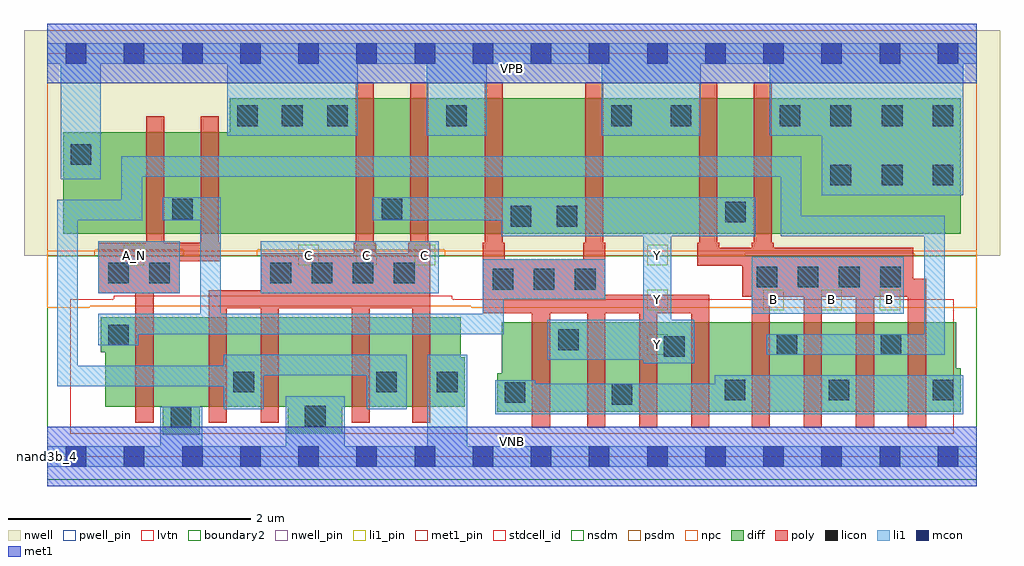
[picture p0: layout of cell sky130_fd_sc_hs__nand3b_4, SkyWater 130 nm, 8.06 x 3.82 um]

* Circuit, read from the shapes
.subckt sky130_fd_sc_hs__nand3b_4 A_N B C VGND VNB VPB VPWR Y
XM1 VGND A_N n1 VNB sky130_fd_pr__nfet_01v8_lvt w=0.74 l=0.15
XM2 n2 C VGND VNB sky130_fd_pr__nfet_01v8_lvt w=0.74 l=0.15 m=4
XM3 Y n1 n3 VNB sky130_fd_pr__nfet_01v8_lvt w=0.74 l=0.15 m=4
XM4 n2 B n3 VNB sky130_fd_pr__nfet_01v8_lvt w=0.74 l=0.15 m=4
XM5 n1 A_N VPWR VPB sky130_fd_pr__pfet_01v8 w=0.84 l=0.15 m=2
XM6 Y C VPWR VPB sky130_fd_pr__pfet_01v8 w=1.12 l=0.15 m=2
XM7 Y n1 VPWR VPB sky130_fd_pr__pfet_01v8 w=1.12 l=0.15 m=2
XM8 Y B VPWR VPB sky130_fd_pr__pfet_01v8 w=1.12 l=0.15 m=2
.ends

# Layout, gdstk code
import gdstk
lib = gdstk.Library(unit=1e-6, precision=1e-09)
def R(c, l, rs):  # rectangles x0, y0, x1, y1
    for r in rs: c.add(gdstk.rectangle(r[:2], r[2:], *l))
def A(c, l, x, y, w, h, nx, ny, dx, dy):  # array of equal rectangles
    R(c, l, [(x+i*dx, y+j*dy, x+i*dx+w, y+j*dy+h) for i in range(nx) for j in range(ny)])
def P(c, l, *ps):  # polygons
    for p in ps: c.add(gdstk.Polygon(p, *l))
nwell_pin = (64, 16)
nwell = (64, 20)
diff = (65, 20)
poly = (66, 20)
licon = (66, 44)
li1_pin = (67, 16)
li1 = (67, 20)
mcon = (67, 44)
met1_pin = (68, 16)
met1 = (68, 20)
stdcell_id = (81, 4)
nsdm = (93, 44)
psdm = (94, 20)
npc = (95, 20)
pwell_pin = (122, 16)
lvtn = (125, 44)
boundary2 = (236, 0)

sky130_fd_sc_hs__nand3b_ = lib.new_cell('sky130_fd_sc_hs__nand3b_4')
R(sky130_fd_sc_hs__nand3b_, nwell_pin, [(0,3.085,7.68,3.33)])
R(sky130_fd_sc_hs__nand3b_, nwell, [(-0.19,1.66,7.87,3.52)])
P(sky130_fd_sc_hs__nand3b_, diff, [(3.45,0.82),(3.415,0.82),(3.415,1.15),(0.445,1.15),(0.445,0.86),(0.48,0.86),(0.48,0.41),(0.955,0.41),(0.955,0.18),(1.26,0.18),(1.26,0.41),(1.99,0.41),(1.99,0.19),(2.44,0.19),(2.44,0.41),(3.45,0.41)],
  [(7.545,2.96),(1.51,2.96),(1.51,2.68),(0.135,2.68),(0.135,1.84),(7.545,1.84)],
  [(7.545,0.73),(7.51,0.73),(7.51,1.11),(3.755,1.11),(3.755,0.69),(3.72,0.69),(3.72,0.37),(7.545,0.37)])
P(sky130_fd_sc_hs__nand3b_, poly, [(7.26,1.47),(7.155,1.47),(7.155,1.725),(6,1.725),(6,1.765),(5.985,1.765),(5.985,3.09),(5.835,3.09),(5.835,1.765),(5.82,1.765),(5.82,1.725),(5.55,1.725),(5.55,1.765),(5.535,1.765),(5.535,3.09),(5.385,3.09),(5.385,1.765),(5.37,1.765),(5.37,1.575),(5.74,1.575),(5.74,1.32),(5.82,1.32),(5.82,0.24),(5.97,0.24),(5.97,1.32),(6.25,1.32),(6.25,0.24),(6.4,0.24),(6.4,1.32),(6.68,1.32),(6.68,0.24),(6.83,0.24),(6.83,1.32),(7.11,1.32),(7.11,0.24),(7.26,0.24)],
  [(5.47,1.335),(4.61,1.335),(4.61,1.765),(4.595,1.765),(4.595,3.09),(4.445,3.09),(4.445,1.765),(4.43,1.765),(4.43,1.63),(3.78,1.63),(3.78,1.765),(3.765,1.765),(3.765,3.09),(3.615,3.09),(3.615,1.765),(3.6,1.765),(3.6,1.185),(4.005,1.185),(4.005,0.24),(4.155,0.24),(4.155,1.185),(4.46,1.185),(4.46,0.24),(4.61,0.24),(4.61,1.185),(4.89,1.185),(4.89,0.24),(5.04,0.24),(5.04,1.185),(5.32,1.185),(5.32,0.24),(5.47,0.24)],
  [(3.165,1.765),(3.15,1.765),(3.15,3.09),(3,3.09),(3,1.765),(2.985,1.765),(2.985,1.68),(2.715,1.68),(2.715,1.765),(2.7,1.765),(2.7,3.09),(2.55,3.09),(2.55,1.765),(2.535,1.765),(2.535,1.68),(1.765,1.68),(1.765,1.375),(1.335,1.375),(1.335,0.28),(1.485,0.28),(1.485,1.225),(1.765,1.225),(1.765,0.28),(1.915,0.28),(1.915,1.225),(2.515,1.225),(2.515,0.28),(2.665,0.28),(2.665,1.225),(3.015,1.225),(3.015,0.28),(3.165,0.28)],
  [(1.435,1.765),(1.42,1.765),(1.42,2.81),(1.27,2.81),(1.27,1.765),(0.97,1.765),(0.97,2.81),(0.82,2.81),(0.82,1.765),(0.425,1.765),(0.425,1.35),(0.73,1.35),(0.73,0.28),(0.88,0.28),(0.88,1.35),(1.095,1.35),(1.095,1.615),(1.435,1.615)])
A(sky130_fd_sc_hs__nand3b_, licon, 5.595, 0.465, 0.17, 0.17, 3, 1, 0.86, 0)
A(sky130_fd_sc_hs__nand3b_, licon, 3.68, 1.38, 0.17, 0.17, 3, 1, 0.34, 0)
A(sky130_fd_sc_hs__nand3b_, licon, 5.86, 1.4, 0.17, 0.17, 4, 1, 0.34, 0)
A(sky130_fd_sc_hs__nand3b_, licon, 1.845, 1.43, 0.17, 0.17, 4, 1, 0.34, 0)
R(sky130_fd_sc_hs__nand3b_, licon, [(1.02,0.24,1.19,0.41), (2.13,0.25,2.3,0.42), (4.665,0.43,4.835,0.6), (3.78,0.445,3.95,0.615), (1.54,0.53,1.71,0.7), (2.72,0.53,2.89,0.7), (3.22,0.53,3.39,0.7), (5.095,0.825,5.265,0.995), (6.025,0.84,6.195,1.01), (6.885,0.84,7.055,1.01), (4.22,0.88,4.39,1.05), (0.505,0.92,0.675,1.09), (0.505,1.43,0.675,1.6), (0.845,1.43,1.015,1.6), (3.83,1.9,4,2.07), (4.21,1.9,4.38,2.07), (5.6,1.935,5.77,2.105), (1.035,1.96,1.205,2.13), (2.765,1.96,2.935,2.13), (6.47,2.24,6.64,2.41), (6.895,2.24,7.065,2.41), (7.315,2.24,7.485,2.41), (0.195,2.41,0.365,2.58), (1.57,2.73,1.74,2.9), (1.94,2.73,2.11,2.9), (2.315,2.73,2.485,2.9), (3.295,2.73,3.465,2.9), (4.66,2.73,4.83,2.9), (5.15,2.73,5.32,2.9), (6.05,2.73,6.22,2.9), (6.47,2.73,6.64,2.9), (6.895,2.73,7.065,2.9), (7.315,2.73,7.485,2.9)])
A(sky130_fd_sc_hs__nand3b_, li1_pin, 4.955, 0.84, 0.17, 0.17, 1, 3, 0, 0.37)
A(sky130_fd_sc_hs__nand3b_, li1_pin, 5.915, 1.21, 0.17, 0.17, 3, 1, 0.48, 0)
A(sky130_fd_sc_hs__nand3b_, li1_pin, 2.075, 1.58, 0.17, 0.17, 3, 1, 0.48, 0)
R(sky130_fd_sc_hs__nand3b_, li1_pin, [(0.635,1.58,0.805,1.75)])
R(sky130_fd_sc_hs__nand3b_, li1, [(5.82,1.18,7.075,1.65), (0.425,1.35,1.095,1.78), (1.765,1.35,3.235,1.78)])
P(sky130_fd_sc_hs__nand3b_, li1, [(7.68,3.415),(0,3.415),(0,3.245),(0.115,3.245),(0.115,2.29),(0.445,2.29),(0.445,3.245),(1.49,3.245),(1.49,2.65),(2.565,2.65),(2.565,3.245),(3.135,3.245),(3.135,2.65),(3.63,2.65),(3.63,3.245),(4.58,3.245),(4.58,2.65),(5.4,2.65),(5.4,3.245),(5.97,3.245),(5.97,2.65),(6.4,2.65),(6.4,2.16),(7.565,2.16),(7.565,3.245),(7.68,3.245)],
  [(0.935,0.085),(0.935,0.41),(1.28,0.41),(1.28,0.085),(1.97,0.085),(1.97,0.5),(2.46,0.5),(2.46,0.085),(3.14,0.085),(3.14,0.84),(3.47,0.84),(3.47,0.085),(7.68,0.085),(7.68,-0.085),(0,-0.085),(0,0.085)],
  [(1.265,1.18),(1.265,1.95),(0.955,1.95),(0.955,2.14),(1.435,2.14),(1.435,1.18),(3.6,1.18),(3.6,1.63),(4.61,1.63),(4.61,1.3),(3.77,1.3),(3.77,1.01),(0.755,1.01),(0.755,0.92),(0.425,0.92),(0.425,1.18)],
  [(7.415,1.99),(6.23,1.99),(6.23,2.48),(0.615,2.48),(0.615,2.12),(0.085,2.12),(0.085,0.58),(1.46,0.58),(1.46,0.39),(1.79,0.39),(1.79,0.67),(2.64,0.67),(2.64,0.39),(2.97,0.39),(2.97,0.84),(1.46,0.84),(1.46,0.75),(0.255,0.75),(0.255,1.95),(0.785,1.95),(0.785,2.31),(6.06,2.31),(6.06,1.82),(7.245,1.82),(7.245,1.01),(5.945,1.01),(5.945,0.84),(7.415,0.84)],
  [(3.75,1.82),(3.75,1.95),(2.685,1.95),(2.685,2.14),(5.85,2.14),(5.85,1.82),(5.155,1.82),(5.155,1.13),(5.345,1.13),(5.345,0.77),(4.925,0.77),(4.925,0.8),(4.13,0.8),(4.13,1.13),(4.925,1.13),(4.925,1.82)],
  [(5.515,0.6),(5.515,0.67),(7.565,0.67),(7.565,0.35),(3.7,0.35),(3.7,0.63),(4.03,0.63),(4.03,0.6)])
A(sky130_fd_sc_hs__nand3b_, mcon, 0.155, -0.085, 0.17, 0.17, 16, 2, 0.48, 3.33)
R(sky130_fd_sc_hs__nand3b_, met1_pin, [(0,0,7.68,0.245), (0,3.085,7.68,3.33)])
R(sky130_fd_sc_hs__nand3b_, met1, [(0,-0.245,7.68,0.245), (0,3.085,7.68,3.575)])
R(sky130_fd_sc_hs__nand3b_, stdcell_id, [(0,0,7.68,3.33)])
R(sky130_fd_sc_hs__nand3b_, nsdm, [(0,-0.19,7.68,1.66)])
P(sky130_fd_sc_hs__nand3b_, psdm, [(7.68,3.52),(0,3.52),(0,1.66),(0.395,1.66),(0.395,1.71),(1.125,1.71),(1.125,1.66),(1.735,1.66),(1.735,1.71),(3.285,1.71),(3.285,1.66),(5.765,1.66),(5.765,1.68),(7.16,1.68),(7.16,1.66),(7.68,1.66)])
P(sky130_fd_sc_hs__nand3b_, npc, [(7.68,1.7),(0,1.7),(0,1.23),(0.355,1.23),(0.355,1.24),(3.505,1.24),(3.505,1.23),(7.68,1.23)])
R(sky130_fd_sc_hs__nand3b_, pwell_pin, [(0,0,7.68,0.245)])
P(sky130_fd_sc_hs__nand3b_, lvtn, [(7.49,1.3),(3.345,1.3),(3.345,1.33),(0.55,1.33),(0.55,1.3),(0.19,1.3),(0.19,0.19),(7.49,0.19)])
R(sky130_fd_sc_hs__nand3b_, boundary2, [(0,0,7.68,3.33)])
sky130_fd_sc_hs__nand3b_.add(gdstk.Label('nand3b_4', (0,0), layer=83, texttype=44))
sky130_fd_sc_hs__nand3b_.add(gdstk.Label('VNB', (3.84,0.123), layer=64, texttype=59))
sky130_fd_sc_hs__nand3b_.add(gdstk.Label('VPB', (3.84,3.208), layer=64, texttype=5))
sky130_fd_sc_hs__nand3b_.add(gdstk.Label('VPWR', (3.84,3.208), layer=68, texttype=5))
sky130_fd_sc_hs__nand3b_.add(gdstk.Label('VGND', (3.84,0.123), layer=68, texttype=5))
sky130_fd_sc_hs__nand3b_.add(gdstk.Label('A_N', (0.72,1.665), layer=67, texttype=5))
sky130_fd_sc_hs__nand3b_.add(gdstk.Label('C', (2.16,1.665), layer=67, texttype=5))
sky130_fd_sc_hs__nand3b_.add(gdstk.Label('C', (2.64,1.665), layer=67, texttype=5))
sky130_fd_sc_hs__nand3b_.add(gdstk.Label('C', (3.12,1.665), layer=67, texttype=5))
sky130_fd_sc_hs__nand3b_.add(gdstk.Label('B', (6,1.295), layer=67, texttype=5))
sky130_fd_sc_hs__nand3b_.add(gdstk.Label('B', (6.48,1.295), layer=67, texttype=5))
sky130_fd_sc_hs__nand3b_.add(gdstk.Label('B', (6.96,1.295), layer=67, texttype=5))
sky130_fd_sc_hs__nand3b_.add(gdstk.Label('Y', (5.04,0.925), layer=67, texttype=5))
sky130_fd_sc_hs__nand3b_.add(gdstk.Label('Y', (5.04,1.295), layer=67, texttype=5))
sky130_fd_sc_hs__nand3b_.add(gdstk.Label('Y', (5.04,1.665), layer=67, texttype=5))

lib.write_gds('sky130_fd_sc_hs__nand3b_4.gds')
